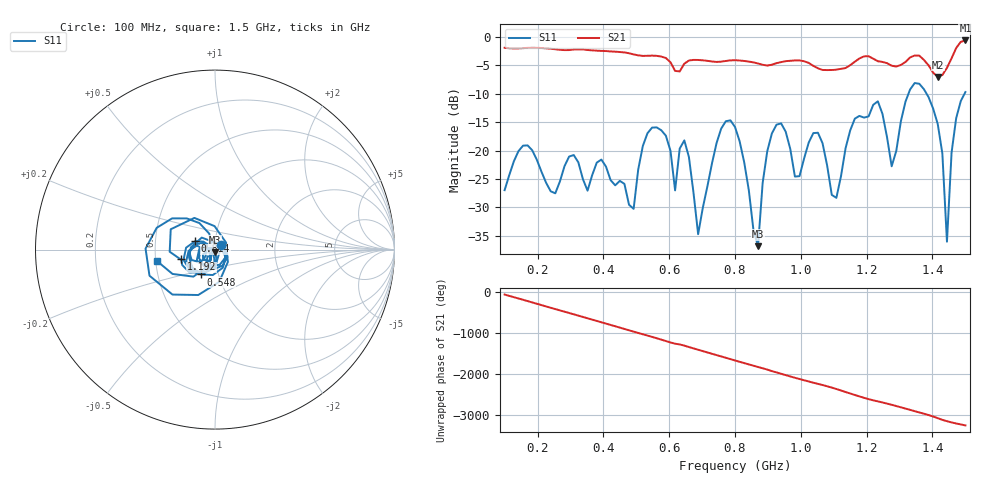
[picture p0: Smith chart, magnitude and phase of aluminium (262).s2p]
! NanoVNA-App
! Date: 2025-09-25 14:57:19
! Start: 100MHz Stop: 1,5GHz Points: 101
! S-Parameter data: F S11 S21 S12 S22
# Hz S RI R 50
!  Frequency  S11_Real  S11_Imag  S21_Real  S21_Imag  S12_Real  S12_Imag  S22_Real  S22_Imag
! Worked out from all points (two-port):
!   101 points, 100 MHz to 1.5 GHz, reference 50 ohm
!   highest |S21| = -0.63 dB at 1.5 GHz (marker M1); lowest = -7.0 dB at 1.416 GHz (marker M2)
!   |S21| within 3 dB of the highest: start of sweep to 585.2 MHz; 1.332 GHz to 1.366 GHz (34.41 MHz wide, 2.55 % of centre) (the widest 2 of 4)
!   lowest |S11| = -36.8 dB at 870 MHz (marker M3), VSWR 1.03, Z = 49.8 - j1.43 ohm
!   |S11| at or under -10 dB: start of sweep to 1.327 GHz; 1.382 GHz to 1.497 GHz (115.3 MHz wide, 8.01 % of centre)
!   S12 and S22 are empty: the file has one direction only
!   S11 on the Smith chart (normalised r, x): 100 MHz: 1.07, +0.06; 548 MHz: 0.82, -0.23; 814 MHz: 0.80, +0.07; 1.192 GHz: 0.68, -0.08; 1.5 GHz: 0.51, -0.08
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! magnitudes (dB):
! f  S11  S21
! 100 MHz  -27.0  -1.9
! 338 MHz  -25.0  -2.2
! 492 MHz  -30.2  -3.1
! 548 MHz  -16.0  -3.3
! 576 MHz  -16.4  -3.5
! 618 MHz  -27.0  -6.0
! 646 MHz  -18.2  -4.7
! 688 MHz  -34.7  -4.1
! 800 MHz  -15.8  -4.1
! 814 MHz  -18.3  -4.2
! 870 MHz  -36.8  -4.7
! 912 MHz  -17.0  -4.9
! 982 MHz  -24.6  -4.1
! 1.038 GHz  -16.9  -5.1
! 1.108 GHz  -28.3  -5.8
! 1.192 GHz  -14.2  -3.4
! 1.276 GHz  -22.8  -5.1
! 1.346 GHz  -8.1  -3.3
! 1.416 GHz  -15.3  -7.0
! 1.444 GHz  -36.0  -5.4
! 1.458 GHz  -20.3  -3.8
! 1.5 GHz  -9.7  -0.6
